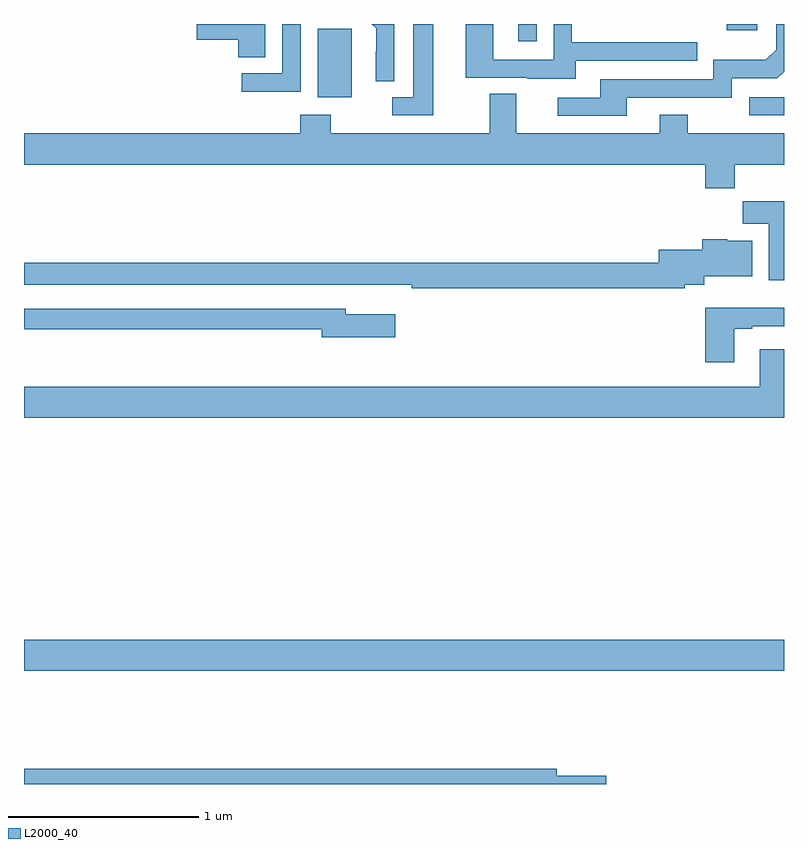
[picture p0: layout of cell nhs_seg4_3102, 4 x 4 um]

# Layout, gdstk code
import gdstk
lib = gdstk.Library(unit=1e-6, precision=1e-09)
def R(c, l, rs):  # rectangles x0, y0, x1, y1
    for r in rs: c.add(gdstk.rectangle(r[:2], r[2:], *l))
def P(c, l, *ps):  # polygons
    for p in ps: c.add(gdstk.Polygon(p, *l))
L2000_40 = (2000, 40)

nhs_seg4_3102 = lib.new_cell('nhs_seg4_3102')
R(nhs_seg4_3102, L2000_40, [(275,787.496,279,787.66), (278.817,790.419,279,790.515), (276.545,790.514,276.724,790.875), (277.601,790.809,277.698,790.9), (278.699,790.868,278.86,790.9)])
P(nhs_seg4_3102, L2000_40, [(276.456,790.9),(276.36,790.9),(276.36,790.641),(276.147,790.641),(276.147,790.543),(276.456,790.543)],
  [(276.948,790.9),(276.831,790.9),(276.854,790.877),(276.854,790.754),(276.852,790.754),(276.852,790.6),(276.948,790.6)],
  [(276.271,790.9),(275.91,790.9),(275.91,790.817),(276.128,790.817),(276.128,790.726),(276.271,790.726)],
  [(278.173,790.512),(278.724,790.512),(278.724,790.614),(278.964,790.614),(279,790.65),(279,790.9),(278.958,790.9),(278.958,790.764),(278.905,790.711),(278.628,790.711),(278.628,790.608),(278.033,790.608),(278.033,790.512),(277.809,790.512),(277.809,790.416),(278.173,790.416)],
  [(277.903,790.707),(278.543,790.707),(278.543,790.803),(277.884,790.803),(277.884,790.9),(277.788,790.9),(277.788,790.713),(277.47,790.713),(277.47,790.9),(277.325,790.9),(277.325,790.617),(277.649,790.617),(277.649,790.613),(277.903,790.613)],
  [(277.153,790.9),(277.049,790.9),(277.049,790.515),(276.939,790.515),(276.939,790.419),(277.153,790.419)],
  [(278.493,790.423),(278.345,790.423),(278.345,790.324),(277.591,790.324),(277.591,790.532),(277.451,790.532),(277.451,790.324),(276.615,790.324),(276.615,790.423),(276.455,790.423),(276.455,790.324),(275,790.324),(275,790.16),(278.585,790.16),(278.585,790.036),(278.741,790.036),(278.741,790.16),(279,790.16),(279,790.324),(278.493,790.324)],
  [(279,789.967),(278.782,789.967),(278.782,789.848),(278.921,789.848),(278.921,789.552),(279,789.552)],
  [(278.477,789.527),(278.581,789.527),(278.581,789.572),(278.833,789.572),(278.833,789.76),(278.7,789.76),(278.7,789.766),(278.57,789.766),(278.57,789.712),(278.342,789.712),(278.342,789.644),(275,789.644),(275,789.528),(276.79,789.528),(276.79,789.527),(277.042,789.527),(277.042,789.508),(278.477,789.508)],
  [(278.737,789.297),(278.833,789.297),(278.833,789.309),(279,789.309),(279,789.406),(278.585,789.406),(278.585,789.12),(278.737,789.12)],
  [(276.955,789.373),(276.694,789.373),(276.694,789.402),(275,789.402),(275,789.294),(276.566,789.294),(276.566,789.251),(276.955,789.251)],
  [(279,789.187),(278.873,789.187),(278.873,788.992),(275,788.992),(275,788.828),(279,788.828)],
  [(278.065,786.944),(277.804,786.944),(277.804,786.98),(275,786.98),(275,786.9),(278.065,786.9)])

lib.write_gds('nhs_seg4_3102.gds')
